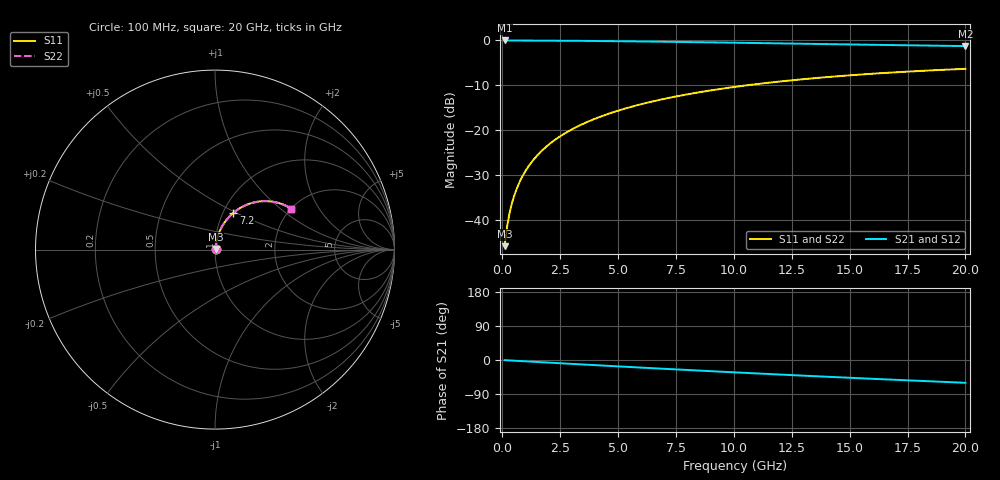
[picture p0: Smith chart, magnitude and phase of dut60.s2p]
! Touchstone file exported from HFSS 2026.1.0
!  File:  C:/ffzhzh/LocalFiles/Ansys_Project_Files/temp_train_TMRDL_60_1782881003_8056.aedt
!  Generated:  12:44:45 PM Jul  1, 2026
!  Design:  TMRDL
!  Project:  temp_train_TMRDL_60_1782881003_8056
! Variables:
!  h_bsmrdl = 2um
!  h_ox = 20um
!  h_rdl = 5um
!  h_sub = 80um
!  h_tmrdl = 5.02um
!  h_tsv = 80um
!  h_via = 3um
!  l_bsmrdl = 300um
!  l_sub = 1359.78um
!  l_tmrdl = 959.78um
!  m_sub = 200um
!  pitch = 47.8um
!  r_tsv = 6um
!  s_tmrdl = 10um
!  w_bsmrdl = 18um
!  w_sub = 500um
!  w_tmrdl = 20.38um
!  x_tsv_center1 = 969.97um
!  x_tsv_center2 = 1287.97um
!  x_tsv_center3 = 2268.13um
!  x_tsv_center4 = 2586.13um
!  x_tsv_center5 = 3566.29um
!  x_tsv_center6 = 3884.29um
# GHz S MA R 50.000000
! Terminal data exported
! Port[1] = TM_RDL1_1_T1
! Port[2] = TM_RDL1_1_T2
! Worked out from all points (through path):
!   200 points, 100 MHz to 20 GHz, reference 50 ohm
!   highest |S21| = -0.03 dB at 100 MHz (marker M1); lowest = -1.3 dB at 20 GHz (marker M2)
!   group delay of S21, straight-line fit = 8.35 ps
!   lowest |S11| = -45.8 dB at 100 MHz (marker M3), VSWR 1.01, Z = 50.3 + j0.375 ohm
!   |S11| at or under -10 dB: start of sweep to 10.59 GHz
!   |S22| runs from -45.8 to -6.3 dB; largest |S21 - S12| = 3.2e-15
!   S11 on the Smith chart (normalised r, x): 100 MHz: 1.01, +0.01; 7.2 GHz: 1.12, +0.48; 20 GHz: 2.00, +1.19
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0.1  0.005114 46.8  0.9965 -0.4  0.9965 -0.4  0.005114 46.8
! Gamma 0 0 0 0
! Port Impedance 50 0 50 0
0.2  0.008223 62.6  0.9963 -0.7  0.9963 -0.7  0.008223 62.6
0.3  0.0115 69.2  0.9961 -1.1  0.9961 -1.1  0.0115 69.2
0.4  0.01481 72.8  0.9959 -1.4  0.9959 -1.4  0.01481 72.8
0.5  0.01815 75.1  0.9957 -1.7  0.9957 -1.7  0.01815 75.1
0.6  0.0215 76.6  0.9956 -2.1  0.9956 -2.1  0.0215 76.6
0.8  0.02825 78.3  0.9953 -2.8  0.9953 -2.8  0.02825 78.3
1.1  0.03843 79.4  0.9947 -3.8  0.9947 -3.8  0.03843 79.4
1.5  0.05199 79.4  0.9938 -5.2  0.9938 -5.2  0.05199 79.4
1.8  0.06211 79.0  0.9929 -6.2  0.9929 -6.2  0.06211 79.0
2.1  0.07217 78.4  0.992 -7.2  0.992 -7.2  0.07217 78.4
2.7  0.09205 76.9  0.9897 -9.3  0.9897 -9.3  0.09205 76.9
3.5  0.118 74.7  0.986 -11.9  0.986 -11.9  0.118 74.6
4.2  0.1401 72.5  0.9823 -14.3  0.9823 -14.3  0.1401 72.5
5  0.1648 70.1  0.9777 -16.9  0.9777 -16.9  0.1648 70.1
6.8  0.2176 64.7  0.9658 -22.7  0.9658 -22.7  0.2176 64.6
7.2  0.2289 63.5  0.9629 -23.9  0.9629 -23.9  0.2289 63.4
8.6  0.2667 59.3  0.9524 -28.3  0.9524 -28.3  0.2667 59.3
10.1  0.3045 54.9  0.9404 -32.8  0.9404 -32.8  0.3045 54.9
13.4  0.3775 45.6  0.9129 -42.5  0.9129 -42.5  0.3776 45.6
16.7  0.4364 36.7  0.8862 -51.6  0.8862 -51.6  0.4364 36.7
20  0.4816 28.4  0.8626 -60.1  0.8626 -60.1  0.4817 28.3
